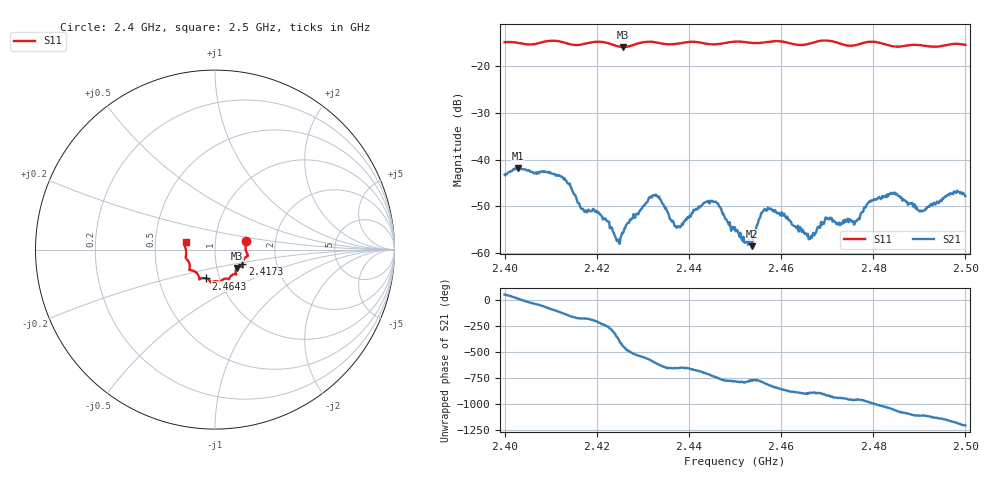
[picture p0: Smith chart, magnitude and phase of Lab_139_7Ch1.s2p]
# Hz S RI R 50
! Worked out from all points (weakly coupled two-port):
!   601 points, 2.4 GHz to 2.5 GHz, reference 50 ohm
!   highest |S21| = -41.76 dB at 2.4028 GHz (marker M1); lowest = -58.5 dB at 2.4537 GHz (marker M2)
!   lowest |S11| = -15.9 dB at 2.4257 GHz (marker M3), VSWR 1.38, Z = 62.5 - j13.1 ohm
!   |S11| at or under -10 dB: start of sweep to end of sweep
!   S12 and S22 are empty: the file has one direction only
!   S11 on the Smith chart (normalised r, x): 2.4 GHz: 1.41, +0.14; 2.4173 GHz: 1.34, -0.23; 2.4643 GHz: 0.86, -0.28; 2.5 GHz: 0.72, +0.06
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2.4e9  0.1734 0.0493  0.00442 0.00531  0 0  0 0
2.402833e9  0.1739 0.0356  0.008 0.00164  0 0  0 0
2.412167e9  0.1788 -0.0375  -0.00333 -0.00572  0 0  0 0
2.416667e9  0.153 -0.0747  -0.00296 -0.000135  0 0  0 0
2.417333e9  0.1522 -0.0822  -0.00276 -8.58e-06  0 0  0 0
2.4205e9  0.1544 -0.0971  -0.00207 0.0017  0 0  0 0
2.4245e9  0.1321 -0.0958  0.00137 -8.87e-06  0 0  0 0
2.425667e9  0.1228 -0.1023  0.000186 -0.00162  0 0  0 0
2.433333e9  0.1128 -0.137  -0.000864 0.00385  0 0  0 0
2.437333e9  0.0855 -0.1505  0.000757 0.0017  0 0  0 0
2.445333e9  0.0528 -0.1625  0.00343 -0.000789  0 0  0 0
2.45e9  0.0294 -0.1808  0.000956 -0.00162  0 0  0 0
2.453667e9  0.0128 -0.1766  0.000685 -0.000968  0 0  0 0
2.456833e9  -0.0124 -0.18  0.000291 -0.00281  0 0  0 0
2.464333e9  -0.0498 -0.1606  -0.00177 -0.000196  0 0  0 0
2.466667e9  -0.0759 -0.1596  -0.00143 -0.00029  0 0  0 0
2.47e9  -0.0877 -0.1661  -0.00224 0.000603  0 0  0 0
2.476e9  -0.116 -0.1196  -0.0012 0.00169  0 0  0 0
2.479167e9  -0.141 -0.115  -0.00064 0.00353  0 0  0 0
2.483333e9  -0.1406 -0.0899  0.00295 0.00311  0 0  0 0
2.4905e9  -0.1622 -0.038  0.00249 -0.00132  0 0  0 0
2.5e9  -0.1635 0.0418  -0.00215 -0.00344  0 0  0 0
